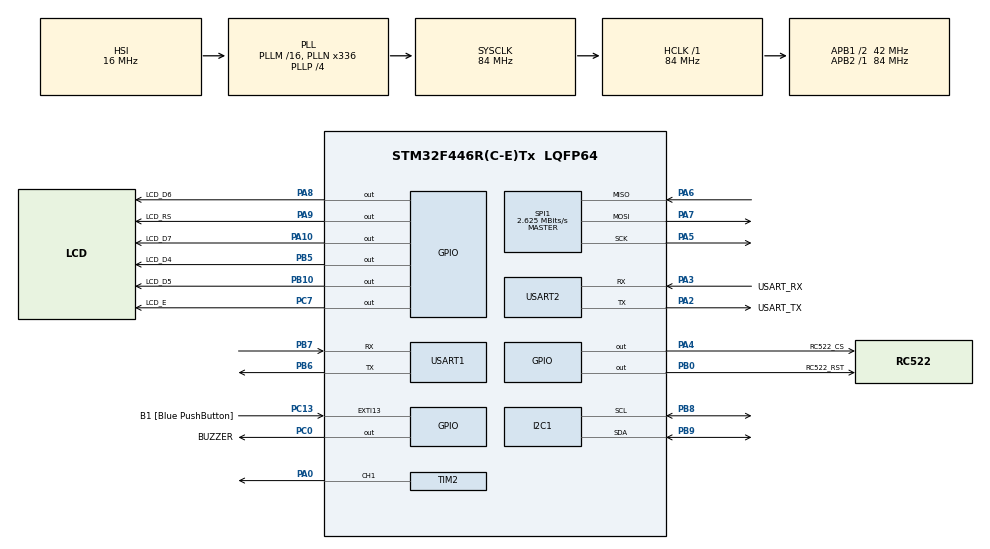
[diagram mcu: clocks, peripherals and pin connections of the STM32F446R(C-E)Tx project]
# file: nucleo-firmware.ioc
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Mcu.Family=STM32F4
Mcu.Name=STM32F446R(C-E)Tx
Mcu.Package=LQFP64
NVIC.PriorityGroup=NVIC_PRIORITYGROUP_0
PA0-WKUP.Signal=S_TIM2_CH1_ETR
PA10.GPIO_Label=LCD_D7
PA10.Signal=GPIO_Output
PA13.GPIO_Label=TMS
PA13.Mode=Serial_Wire
PA13.Signal=SYS_JTMS-SWDIO
PA14.GPIO_Label=TCK
PA14.Mode=Serial_Wire
PA14.Signal=SYS_JTCK-SWCLK
PA2.GPIO_Label=USART_TX
PA2.Mode=Asynchronous
PA2.Signal=USART2_TX
PA3.GPIO_Label=USART_RX
PA3.Mode=Asynchronous
PA3.Signal=USART2_RX
PA4.GPIO_Label=RC522_CS
PA4.PinState=GPIO_PIN_SET
PA4.Signal=GPIO_Output
PA5.Mode=Full_Duplex_Master
PA5.Signal=SPI1_SCK
PA6.Mode=Full_Duplex_Master
PA6.Signal=SPI1_MISO
PA7.Mode=Full_Duplex_Master
PA7.Signal=SPI1_MOSI
PA8.GPIO_Label=LCD_D6
PA8.Signal=GPIO_Output
PA9.GPIO_Label=LCD_RS
PA9.Signal=GPIO_Output
PB0.GPIO_Label=RC522_RST
PB0.PinState=GPIO_PIN_SET
PB0.Signal=GPIO_Output
PB10.GPIO_Label=LCD_D5
PB10.Signal=GPIO_Output
PB3.GPIO_Label=SWO
PB3.Signal=SYS_JTDO-SWO
PB5.GPIO_Label=LCD_D4
PB5.Signal=GPIO_Output
PB6.Mode=Asynchronous
PB6.Signal=USART1_TX
PB7.Mode=Asynchronous
PB7.Signal=USART1_RX
PB8.Mode=I2C
PB8.Signal=I2C1_SCL
PB9.Mode=I2C
PB9.Signal=I2C1_SDA
PC0.GPIO_Label=BUZZER
PC0.Signal=GPIO_Output
PC13.GPIO_Label=B1 [Blue PushButton]
PC13.GPIO_ModeDefaultEXTI=GPIO_MODE_IT_FALLING
PC13.Signal=GPXTI13
PC14-OSC32_IN.Signal=RCC_OSC32_IN
PC15-OSC32_OUT.Signal=RCC_OSC32_OUT
PC7.GPIO_Label=LCD_E
PC7.Signal=GPIO_Output
PH0-OSC_IN.Signal=RCC_OSC_IN
PH1-OSC_OUT.Signal=RCC_OSC_OUT
ProjectManager.HeapSize=0x200
ProjectManager.StackSize=0x400
ProjectManager.TargetToolchain=STM32CubeIDE
RCC.AHBFreq_Value=84000000
RCC.APB1CLKDivider=RCC_HCLK_DIV2
RCC.APB1Freq_Value=42000000
RCC.APB1TimFreq_Value=84000000
RCC.APB2Freq_Value=84000000
RCC.APB2TimFreq_Value=84000000
RCC.CortexFreq_Value=84000000
RCC.FLatency-AdvancedSettings=FLASH_LATENCY_2
RCC.HCLKFreq_Value=84000000
RCC.HSE_VALUE=8000000
RCC.HSI_VALUE=16000000
RCC.LSE_VALUE=32768
RCC.PLLN=336
RCC.PLLP=RCC_PLLP_DIV4
RCC.SYSCLKFreq_VALUE=84000000
RCC.SYSCLKSource=RCC_SYSCLKSOURCE_PLLCLK
RCC.USBFreq_Value=168000000
RCC.VCOOutputFreq_Value=336000000
SH.S_TIM2_CH1_ETR.0=TIM2_CH1,PWM Generation1 CH1
SPI1.BaudRatePrescaler=SPI_BAUDRATEPRESCALER_32
SPI1.CalculateBaudRate=2.625 MBits/s
SPI1.Direction=SPI_DIRECTION_2LINES
SPI1.Mode=SPI_MODE_MASTER
SPI1.VirtualType=VM_MASTER
TIM2.AutoReloadPreload=TIM_AUTORELOAD_PRELOAD_ENABLE
TIM2.Channel-PWM\ Generation1\ CH1=TIM_CHANNEL_1
TIM2.Period=19999
TIM2.Prescaler=83
TIM2.Pulse-PWM\ Generation1\ CH1=1500
USART1.VirtualMode=VM_ASYNC
USART2.VirtualMode=VM_ASYNC
VP_TIM2_VS_ClockSourceINT.Mode=Internal
board=NUCLEO-F446RE

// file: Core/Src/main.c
/* USER CODE BEGIN Header */
/**
  ******************************************************************************
  * @file           : main.c
  * @brief          : Main program body
  ******************************************************************************
  * @attention
  *
  * Copyright (c) 2026 STMicroelectronics.
  * All rights reserved.
  *
  * This software is licensed under terms that can be found in the LICENSE file
  * in the root directory of this software component.
  * If no LICENSE file comes with this software, it is provided AS-IS.
  *
  ******************************************************************************
  */
/* USER CODE END Header */
#include "main.h"

/* USER CODE BEGIN Includes */
#include <stdio.h>
#include <string.h>
/* USER CODE END Includes */

/* USER CODE BEGIN PD */
#define SERVO_MIN_US       650    // safe range: measured stops (540 / 2480) plus ~100 us margin
#define SERVO_MAX_US       2380
#define SERVO_LOCKED_US    700    // placeholder, choose after trying the positions
#define SERVO_UNLOCKED_US  2300   // placeholder, choose after trying the positions
#define UNLOCK_HOLD_MS     5000   // how long the lock stays open after a grant (my starting value)
#define RFID_POLL_MS       100    // how often the card reader is polled (same rate as before)
/* USER CODE END PD */

I2C_HandleTypeDef hi2c1;

SPI_HandleTypeDef hspi1;

TIM_HandleTypeDef htim2;

UART_HandleTypeDef huart1;
UART_HandleTypeDef huart2;

void SystemClock_Config(void);
static void MX_GPIO_Init(void);
static void MX_SPI1_Init(void);
static void MX_USART2_UART_Init(void);
static void MX_TIM2_Init(void);
static void MX_I2C1_Init(void);
static void MX_USART1_UART_Init(void);

/* USER CODE BEGIN 0 */

static void uart_print(const char *s)
{
    HAL_UART_Transmit(&huart2, (uint8_t *)s, strlen(s), 100);
}

static void servo_set(uint16_t us)
{
    if (us < SERVO_MIN_US) us = SERVO_MIN_US;   // never command past the safe range
    if (us > SERVO_MAX_US) us = SERVO_MAX_US;
    __HAL_TIM_SET_COMPARE(&htim2, TIM_CHANNEL_1, us);
}

typedef struct {
    const uint16_t *steps;   // durations in ms, alternating ON, OFF, ON, ...
    uint8_t count;
} buzzer_pattern_t;

static const uint16_t PAT_GRANTED_STEPS[] = { 300 };
static const uint16_t PAT_DENIED_STEPS[]  = { 100, 100, 100, 100, 100 };
static const uint16_t PAT_TEST_STEPS[]    = { 200 };

static const buzzer_pattern_t PAT_GRANTED = { PAT_GRANTED_STEPS, 1 };
static const buzzer_pattern_t PAT_DENIED  = { PAT_DENIED_STEPS,  5 };
static const buzzer_pattern_t PAT_TEST    = { PAT_TEST_STEPS,    1 };

static const buzzer_pattern_t *buz_pat = NULL;   // NULL = idle
static uint8_t  buz_step = 0;
static uint32_t buz_step_start = 0;

static void buzzer_start(const buzzer_pattern_t *p)   // returns immediately
{
    buz_pat = p;
    buz_step = 0;
    buz_step_start = HAL_GetTick();
    HAL_GPIO_WritePin(BUZZER_GPIO_Port, BUZZER_Pin, GPIO_PIN_SET);   // step 0 is always ON
}

static void buzzer_update(void)                        // call every loop pass
{
    if (buz_pat == NULL) return;
    if ((HAL_GetTick() - buz_step_start) < buz_pat->steps[buz_step]) return;

    buz_step++;
    if (buz_step >= buz_pat->count) {                  // pattern finished
        HAL_GPIO_WritePin(BUZZER_GPIO_Port, BUZZER_Pin, GPIO_PIN_RESET);
        buz_pat = NULL;
        return;
    }
    buz_step_start = HAL_GetTick();
    HAL_GPIO_WritePin(BUZZER_GPIO_Port, BUZZER_Pin,
                      (buz_step % 2 == 0) ? GPIO_PIN_SET : GPIO_PIN_RESET);   // even = ON, odd = OFF
}

typedef enum { LOCK_LOCKED, LOCK_UNLOCKED } lock_state_t;
static lock_state_t lock_state = LOCK_LOCKED;
static uint32_t unlock_ms = 0;            // HAL_GetTick() when the lock last opened

static void lock_set(lock_state_t s)      // the only place that moves the servo for access logic
{
    lock_state = s;
    servo_set(s == LOCK_UNLOCKED ? SERVO_UNLOCKED_US : SERVO_LOCKED_US);
    if (s == LOCK_UNLOCKED) unlock_ms = HAL_GetTick();
}

static void i2c_scan(void)
{
    char b[40];
    uint8_t found = 0;
    uart_print("I2C scan...\r\n");
    for (uint8_t addr = 0x08; addr <= 0x77; addr++) {
        // HAL wants the 7-bit address shifted left by 1; 1 try, 10 ms timeout
        if (HAL_I2C_IsDeviceReady(&hi2c1, (uint16_t)(addr << 1), 1, 10) == HAL_OK) {
            snprintf(b, sizeof b, "  device at 0x%02X\r\n", addr);
            uart_print(b);
            found++;
        }
    }
    snprintf(b, sizeof b, "scan done, %u found\r\n", found);
    uart_print(b);
}

static void i2c_diag(void)
{
    char b[96];
    uint8_t scl = (HAL_GPIO_ReadPin(GPIOB, GPIO_PIN_8) == GPIO_PIN_SET);
    uint8_t sda = (HAL_GPIO_ReadPin(GPIOB, GPIO_PIN_9) == GPIO_PIN_SET);
    snprintf(b, sizeof b, "SCL=%u SDA=%u SR1=0x%04lX SR2=0x%04lX\r\n",
             scl, sda,
             (unsigned long)hi2c1.Instance->SR1,
             (unsigned long)hi2c1.Instance->SR2);
    uart_print(b);
}

static void i2c_bus_clear(void)
{
    char b[80];
    GPIO_InitTypeDef g = {0};

    HAL_I2C_DeInit(&hi2c1);                       // peripheral lets go of PB8/PB9

    g.Pin   = GPIO_PIN_8 | GPIO_PIN_9;
    g.Mode  = GPIO_MODE_OUTPUT_OD;                // open-drain: writing 1 = release the line
    g.Pull  = GPIO_NOPULL;                        // module's 4.7k pull-ups do the pulling
    g.Speed = GPIO_SPEED_FREQ_LOW;
    HAL_GPIO_Init(GPIOB, &g);
    HAL_GPIO_WritePin(GPIOB, GPIO_PIN_8 | GPIO_PIN_9, GPIO_PIN_SET);
    HAL_Delay(1);

    uint8_t sda_before = (HAL_GPIO_ReadPin(GPIOB, GPIO_PIN_9) == GPIO_PIN_SET);
    uint8_t pulses = 0;
    while (HAL_GPIO_ReadPin(GPIOB, GPIO_PIN_9) == GPIO_PIN_RESET && pulses < 9) {
        HAL_GPIO_WritePin(GPIOB, GPIO_PIN_8, GPIO_PIN_RESET); HAL_Delay(1);
        HAL_GPIO_WritePin(GPIOB, GPIO_PIN_8, GPIO_PIN_SET);   HAL_Delay(1);
        pulses++;
    }

    // STOP condition: SDA goes low then high while SCL is high
    HAL_GPIO_WritePin(GPIOB, GPIO_PIN_9, GPIO_PIN_RESET); HAL_Delay(1);
    HAL_GPIO_WritePin(GPIOB, GPIO_PIN_8, GPIO_PIN_SET);   HAL_Delay(1);
    HAL_GPIO_WritePin(GPIOB, GPIO_PIN_9, GPIO_PIN_SET);   HAL_Delay(1);

    uint8_t sda_after = (HAL_GPIO_ReadPin(GPIOB, GPIO_PIN_9) == GPIO_PIN_SET);
    snprintf(b, sizeof b, "bus clear: SDA before=%u, pulses=%u, SDA after=%u\r\n",
             sda_before, pulses, sda_after);
    uart_print(b);

    MX_I2C1_Init();                               // hand the pins back to the I2C peripheral
}

static void ds1307_dump(void)
{
    uint8_t r[7];
    char b[96];

    HAL_StatusTypeDef st = HAL_I2C_Mem_Read(&hi2c1, (0x68 << 1), 0x00,
                                            I2C_MEMADD_SIZE_8BIT, r, 7, 100);
    if (st != HAL_OK) {
        snprintf(b, sizeof b, "read failed: status=%d err=0x%02lX state=0x%02X\r\n",
                 (int)st,
                 (unsigned long)HAL_I2C_GetError(&hi2c1),
                 (unsigned)HAL_I2C_GetState(&hi2c1));
        uart_print(b);
        return;
    }

    snprintf(b, sizeof b, "DS1307 raw: %02X %02X %02X %02X %02X %02X %02X\r\n",
             r[0], r[1], r[2], r[3], r[4], r[5], r[6]);
    uart_print(b);
}

static uint8_t bcd_ok(uint8_t v, uint8_t max_bcd)
{
    return ((v & 0x0F) <= 9) && ((v >> 4) <= 9) && (v <= max_bcd);
}

static void ds1307_stats(void)
{
    uint8_t r[7];
    char b[96];
    uint16_t ok = 0, failed = 0, invalid = 0;
    uint8_t first_fail = 0;
    uint32_t last_err = 0;

    for (uint8_t i = 1; i <= 100; i++) {
        HAL_StatusTypeDef st = HAL_I2C_Mem_Read(&hi2c1, (0x68 << 1), 0x00,
                                                I2C_MEMADD_SIZE_8BIT, r, 7, 100);
        if (st != HAL_OK) {
            failed++;
            last_err = HAL_I2C_GetError(&hi2c1);
            if (!first_fail) first_fail = i;
        } else if (!bcd_ok(r[0] & 0x7F, 0x59) ||    // seconds (mask off the CH bit)
                   !bcd_ok(r[1], 0x59) ||           // minutes
                   !bcd_ok(r[2], 0x23)) {           // hours (assumes 24 h mode)
            invalid++;
            if (!first_fail) first_fail = i;
        } else {
            ok++;
        }
        HAL_Delay(100);
    }

    snprintf(b, sizeof b, "stats/100: ok=%u failed=%u invalid=%u first_bad=%u last_err=0x%02lX\r\n",
             ok, failed, invalid, first_fail, (unsigned long)last_err);
    uart_print(b);
    i2c_diag();     // shows SCL/SDA/SR1/SR2 afterwards
}

typedef struct { uint8_t sec, min, hour, date, month, year; } rtc_time_t;   // year = 0..99

static uint8_t to_bcd(uint8_t v)   { return (uint8_t)(((v / 10) << 4) | (v % 10)); }
static uint8_t from_bcd(uint8_t b) { return (uint8_t)((b >> 4) * 10 + (b & 0x0F)); }

// Fills t from the compile-time __DATE__ ("Nov  5 2026") and __TIME__ ("12:34:56"). Returns 1 on success.
static uint8_t parse_build_time(rtc_time_t *t)
{
    static const char mon[] = "JanFebMarAprMayJunJulAugSepOctNovDec";
    const char *d = __DATE__, *tm = __TIME__;
    uint8_t m = 0;
    for (uint8_t i = 0; i < 12; i++)
        if (strncmp(d, mon + 3 * i, 3) == 0) m = (uint8_t)(i + 1);
    if (m == 0) return 0;
    t->month = m;
    t->date  = (uint8_t)((d[4] == ' ' ? 0 : d[4] - '0') * 10 + (d[5] - '0'));
    t->year  = (uint8_t)((d[9] - '0') * 10 + (d[10] - '0'));
    t->hour  = (uint8_t)((tm[0] - '0') * 10 + (tm[1] - '0'));
    t->min   = (uint8_t)((tm[3] - '0') * 10 + (tm[4] - '0'));
    t->sec   = (uint8_t)((tm[6] - '0') * 10 + (tm[7] - '0'));
    return 1;
}

static HAL_StatusTypeDef ds1307_write_time(const rtc_time_t *t)
{
    uint8_t r[7] = { to_bcd(t->sec),      // bit 7 = 0 -> oscillator runs
                     to_bcd(t->min),
                     to_bcd(t->hour),     // bit 6 = 0 -> 24 h mode
                     1,                   // day-of-week: unused, fixed at 1
                     to_bcd(t->date),
                     to_bcd(t->month),
                     to_bcd(t->year) };
    return HAL_I2C_Mem_Write(&hi2c1, (0x68 << 1), 0x00, I2C_MEMADD_SIZE_8BIT, r, 7, 100);
}

// returns 0 = ok, 1 = I2C failure, 2 = invalid values, 3 = clock halted
static uint8_t ds1307_read_time(rtc_time_t *t)
{
    uint8_t r[7];
    if (HAL_I2C_Mem_Read(&hi2c1, (0x68 << 1), 0x00, I2C_MEMADD_SIZE_8BIT, r, 7, 100) != HAL_OK)
        return 1;
    if (r[0] & 0x80) return 3;                       // clock-halt bit set
    if (!bcd_ok(r[0], 0x59) || !bcd_ok(r[1], 0x59) || !bcd_ok(r[2], 0x23) ||   // 12 h bit also fails here
        !bcd_ok(r[4], 0x31) || !bcd_ok(r[5], 0x12) || !bcd_ok(r[6], 0x99))
        return 2;
    t->sec = from_bcd(r[0]);  t->min = from_bcd(r[1]);  t->hour = from_bcd(r[2]);
    t->date = from_bcd(r[4]); t->month = from_bcd(r[5]); t->year = from_bcd(r[6]);
    if (t->date < 1 || t->month < 1) return 2;       // 00 is not a valid date or month
    return 0;
}

static void rtc_print_status(void)
{
    rtc_time_t t;
    char b[64];
    uint8_t rc = ds1307_read_time(&t);
    if (rc == 0)
        snprintf(b, sizeof b, "RTC %04u-%02u-%02u %02u:%02u:%02u\r\n",
                 2000 + t.year, t.month, t.date, t.hour, t.min, t.sec);
    else
        snprintf(b, sizeof b, "RTC read problem: code %u (1=I2C 2=invalid 3=halted)\r\n", rc);
    uart_print(b);
}

static uint32_t rtc_ok_cnt = 0, rtc_fail_cnt = 0;

// Writes either a wall-clock stamp or an uptime stamp into out. Never fails the caller.
static void make_timestamp(char *out, size_t n, uint32_t *took_ms, uint8_t *rc_out)
{
    rtc_time_t t;
    uint32_t t0 = HAL_GetTick();
    uint8_t rc = ds1307_read_time(&t);
    *took_ms = HAL_GetTick() - t0;
    *rc_out = rc;
    if (rc == 0) {
        rtc_ok_cnt++;
        snprintf(out, n, "%04u-%02u-%02u %02u:%02u:%02u",
                 2000 + t.year, t.month, t.date, t.hour, t.min, t.sec);
    } else {
        rtc_fail_cnt++;
        uint32_t up = HAL_GetTick();
        snprintf(out, n, "up %lu.%lus", (unsigned long)(up / 1000), (unsigned long)((up % 1000) / 100));
    }
}

static uint8_t rc522_read_reg(uint8_t reg)
{
    uint8_t tx[2] = { (uint8_t)(0x80 | (reg << 1)), 0x00 };
    uint8_t rx[2] = {0};
    HAL_GPIO_WritePin(RC522_CS_GPIO_Port, RC522_CS_Pin, GPIO_PIN_RESET);
    HAL_SPI_TransmitReceive(&hspi1, tx, rx, 2, 100);
    HAL_GPIO_WritePin(RC522_CS_GPIO_Port, RC522_CS_Pin, GPIO_PIN_SET);
    return rx[1];
}

static void rc522_write_reg(uint8_t reg, uint8_t val)
{
    uint8_t tx[2] = { (uint8_t)((reg << 1) & 0x7E), val };
    HAL_GPIO_WritePin(RC522_CS_GPIO_Port, RC522_CS_Pin, GPIO_PIN_RESET);
    HAL_SPI_Transmit(&hspi1, tx, 2, 100);
    HAL_GPIO_WritePin(RC522_CS_GPIO_Port, RC522_CS_Pin, GPIO_PIN_SET);

}

static void rc522_dump_regs(void)
{
    char buf[48];
    uart_print("--- RC522 register dump ---\r\n");
    for (uint8_t r = 0; r < 0x40; r++) {
        if (r == 0x09) {
            snprintf(buf, sizeof buf, "0x%02X: skipped (FIFOData)\r\n", r);
        } else {
            snprintf(buf, sizeof buf, "0x%02X: 0x%02X\r\n", r, rc522_read_reg(r));
        }
        uart_print(buf);
    }
    uart_print("--- end ---\r\n");
}

// returns 0 = ok, 1 = timeout (no card), 2 = ErrIRq, 3 = unexpected length
static uint8_t rc522_reqa(uint8_t *atqa)
{
    rc522_write_reg(0x01, 0x00);   // Idle
    rc522_write_reg(0x04, 0x7F);   // clear all ComIrq flags
    rc522_write_reg(0x0A, 0x80);   // flush FIFO (assumed bit 7)
    rc522_write_reg(0x0D, 0x07);   // TxLastBits = 7 (7-bit frame)
    rc522_write_reg(0x09, 0x26);   // REQA into FIFO
    rc522_write_reg(0x01, 0x0C);   // Transceive
    rc522_write_reg(0x0D, 0x87);   // StartSend + TxLastBits = 7

    uint32_t t0 = HAL_GetTick();
    uint8_t irq;
    do {
        irq = rc522_read_reg(0x04);
        if (irq & 0x22) break;     // RxIRq (bit 5) or ErrIRq (bit 1)
    } while (HAL_GetTick() - t0 < 30);

    rc522_write_reg(0x0D, 0x00);   // clear StartSend
    rc522_write_reg(0x01, 0x00);   // back to Idle

    if (!(irq & 0x22))  return 1;
    if (irq & 0x02)     return 2;
    if (rc522_read_reg(0x0A) != 2) return 3;
    atqa[0] = rc522_read_reg(0x09);
    atqa[1] = rc522_read_reg(0x09);
    return 0;
}

// returns 0 = ok, 1 = timeout, 2 = ErrIRq, 3 = bad length, 4 = BCC mismatch
static uint8_t rc522_anticoll(uint8_t *uid)
{
    rc522_write_reg(0x01, 0x00);   // Idle
    rc522_write_reg(0x04, 0x7F);   // clear ComIrq flags
    rc522_write_reg(0x0A, 0x80);   // flush FIFO
    rc522_write_reg(0x0D, 0x00);   // TxLastBits = 0 (full bytes)
    rc522_write_reg(0x09, 0x93);   // SEL: cascade level 1
    rc522_write_reg(0x09, 0x20);   // NVB: no UID bits known
    rc522_write_reg(0x01, 0x0C);   // Transceive
    rc522_write_reg(0x0D, 0x80);   // StartSend

    uint32_t t0 = HAL_GetTick();
    uint8_t irq;
    do {
        irq = rc522_read_reg(0x04);
        if (irq & 0x22) break;
    } while (HAL_GetTick() - t0 < 30);

    rc522_write_reg(0x0D, 0x00);
    rc522_write_reg(0x01, 0x00);

    if (!(irq & 0x22))  return 1;
    if (irq & 0x02)     return 2;
    if ((rc522_read_reg(0x0A) & 0x7F) != 5) return 3;
    for (uint8_t i = 0; i < 5; i++) uid[i] = rc522_read_reg(0x09);
    if ((uid[0] ^ uid[1] ^ uid[2] ^ uid[3]) != uid[4]) return 4;
    return 0;
}

static const uint8_t WHITELIST[][4] = {
    {0x01, 0x17, 0x37, 0x02},   // white card
};
#define WHITELIST_COUNT (sizeof(WHITELIST) / sizeof(WHITELIST[0]))

static uint8_t is_authorized(const uint8_t *uid)
{
    for (uint32_t i = 0; i < WHITELIST_COUNT; i++)
        if (memcmp(uid, WHITELIST[i], 4) == 0) return 1;
    return 0;
}

static void lcd_pins_test(void)
{
    GPIO_TypeDef *ports[6] = { LCD_RS_GPIO_Port, LCD_E_GPIO_Port, LCD_D4_GPIO_Port,
                               LCD_D5_GPIO_Port, LCD_D6_GPIO_Port, LCD_D7_GPIO_Port };
    uint16_t pins[6] = { LCD_RS_Pin, LCD_E_Pin, LCD_D4_Pin,
                         LCD_D5_Pin, LCD_D6_Pin, LCD_D7_Pin };
    const char *names[6] = { "RS", "E", "D4", "D5", "D6", "D7" };
    char b[48];

    for (uint8_t i = 0; i < 6; i++) {
        HAL_GPIO_WritePin(ports[i], pins[i], GPIO_PIN_SET);
        HAL_Delay(5);
        uint8_t hi = (HAL_GPIO_ReadPin(ports[i], pins[i]) == GPIO_PIN_SET);
        HAL_GPIO_WritePin(ports[i], pins[i], GPIO_PIN_RESET);
        HAL_Delay(5);
        uint8_t lo = (HAL_GPIO_ReadPin(ports[i], pins[i]) == GPIO_PIN_RESET);
        snprintf(b, sizeof b, "%s: high=%u low=%u\r\n", names[i], hi, lo);
        uart_print(b);
    }
}

static void lcd_write_nibble(uint8_t nib)
{
    HAL_GPIO_WritePin(LCD_D4_GPIO_Port, LCD_D4_Pin, (nib & 0x01) ? GPIO_PIN_SET : GPIO_PIN_RESET);
    HAL_GPIO_WritePin(LCD_D5_GPIO_Port, LCD_D5_Pin, (nib & 0x02) ? GPIO_PIN_SET : GPIO_PIN_RESET);
    HAL_GPIO_WritePin(LCD_D6_GPIO_Port, LCD_D6_Pin, (nib & 0x04) ? GPIO_PIN_SET : GPIO_PIN_RESET);
    HAL_GPIO_WritePin(LCD_D7_GPIO_Port, LCD_D7_Pin, (nib & 0x08) ? GPIO_PIN_SET : GPIO_PIN_RESET);
    HAL_GPIO_WritePin(LCD_E_GPIO_Port, LCD_E_Pin, GPIO_PIN_SET);
    HAL_Delay(1);                       // generous; real minimum is microseconds
    HAL_GPIO_WritePin(LCD_E_GPIO_Port, LCD_E_Pin, GPIO_PIN_RESET);
    HAL_Delay(1);
}

static void lcd_send(uint8_t byte, uint8_t is_data)
{
    HAL_GPIO_WritePin(LCD_RS_GPIO_Port, LCD_RS_Pin, is_data ? GPIO_PIN_SET : GPIO_PIN_RESET);
    lcd_write_nibble(byte >> 4);        // high nibble first
    lcd_write_nibble(byte & 0x0F);      // then low nibble
}

static void lcd_init(void)
{
    HAL_Delay(50);                      // wait after power-up
    HAL_GPIO_WritePin(LCD_RS_GPIO_Port, LCD_RS_Pin, GPIO_PIN_RESET);
    lcd_write_nibble(0x03); HAL_Delay(5);
    lcd_write_nibble(0x03); HAL_Delay(1);
    lcd_write_nibble(0x03); HAL_Delay(1);
    lcd_write_nibble(0x02); HAL_Delay(1);   // switch to 4-bit mode
    lcd_send(0x28, 0);                  // function set: 4-bit, 2 lines, 5x8 font
    lcd_send(0x0C, 0);                  // display on, cursor off
    lcd_send(0x01, 0); HAL_Delay(2);    // clear display (slow command)
    lcd_send(0x06, 0);                  // entry mode: cursor moves right
}

static void lcd_print(const char *s)
{
    while (*s) lcd_send((uint8_t)*s++, 1);
}

static void lcd_set_cursor(uint8_t row, uint8_t col)
{
    uint8_t addr = (row == 0 ? 0x00 : 0x40) + col;   // line 2 starts at 0x40 (standard HD44780 layout, from memory)
    lcd_send(0x80 | addr, 0);                         // "set DDRAM address" command
}

static void lcd_clear(void)
{
    lcd_send(0x01, 0);
    HAL_Delay(2);                                      // clear is a slow command
}

#define RESULT_HOLD_MS 2000   // keep result on screen this long after the card leaves

typedef enum { STATE_IDLE, STATE_SHOWING } ui_state_t;

static void lcd_show_idle(void)
{
    lcd_clear();
    lcd_set_cursor(0, 0);
    lcd_print("ACCESS SYSTEM");
    lcd_set_cursor(1, 0);
    lcd_print("READY");
}

/* USER CODE END 0 */

int main(void)
{

  /* MCU Configuration--------------------------------------------------------*/

  /* Reset of all peripherals, Initializes the Flash interface and the Systick. */
  HAL_Init();

  /* Configure the system clock */
  SystemClock_Config();

  /* Initialize all configured peripherals */
  MX_GPIO_Init();
  MX_SPI1_Init();
  MX_USART2_UART_Init();
  MX_TIM2_Init();
  MX_I2C1_Init();
  MX_USART1_UART_Init();
  /* USER CODE BEGIN 2 */

  HAL_GPIO_WritePin(RC522_RST_GPIO_Port, RC522_RST_Pin, GPIO_PIN_RESET);
  HAL_Delay(10);
  HAL_GPIO_WritePin(RC522_RST_GPIO_Port, RC522_RST_Pin, GPIO_PIN_SET);
  HAL_Delay(50);

  /*
  rc522_dump_regs();

  {
      char b[64];
      rc522_write_reg(0x01, 0x0F);   // CommandReg = SoftReset
      HAL_Delay(50);                 // wait for the chip to restart (my guess at a safe time)
      snprintf(b, sizeof b, "After soft reset: Cmd=0x%02X Mode=0x%02X TxCtl=0x%02X\r\n",
               rc522_read_reg(0x01), rc522_read_reg(0x11), rc522_read_reg(0x14));
      uart_print(b);
  }
  */

  //lcd_pins_test()

  lcd_init();
  lcd_clear();
  lcd_set_cursor(0, 0);
  lcd_print("ACCESS SYSTEM");
  lcd_set_cursor(1, 0);
  lcd_print("STARTING...");
  uart_print("\r\n=== Access System boot ===\r\n");
  uart_print("Build: " __DATE__ " " __TIME__ "\r\n");

  uint8_t reader_ok = 1;
  {
      rc522_write_reg(0x14, rc522_read_reg(0x14) | 0x03);   // antenna on (do not remove)
      uint8_t txctl = rc522_read_reg(0x14);
      if ((txctl & 0x03) != 0x03) {                          // only speak up if the antenna did not turn on
          reader_ok = 0;
          char b[64];
          snprintf(b, sizeof b, "READER FAULT: TxControl = 0x%02X (antenna not on)\r\n", txctl);
          uart_print(b);
      }
  }

  ui_state_t ui_state = STATE_IDLE;
  uint32_t last_seen_ms = 0;
  uint8_t last_uid[4] = {0};
  uint32_t last_poll_ms = 0;

  /* --- LOCK START --- */
  lock_set(LOCK_LOCKED);                       // set the compare value first, so the first pulse is LOCKED
  HAL_TIM_PWM_Start(&htim2, TIM_CHANNEL_1);
  uart_print("Lock ready: LOCKED\r\n");
  /* --- END LOCK START --- */

  buzzer_start(&PAT_TEST);                     // short boot beep (200 ms)
  HAL_Delay(1500);                             // keep the title readable (boot only, so blocking is fine)
  buzzer_update();                             // beep is long over, so this switches the buzzer off
  if (reader_ok) {
      lcd_show_idle();
      uart_print("Ready\r\n");
  } else {
      lcd_clear();
      lcd_set_cursor(0, 0);
      lcd_print("READER FAULT");
      lcd_set_cursor(1, 0);
      lcd_print("CHECK RC522");
  }

  /* USER CODE END 2 */

  /* Infinite loop */
  while (1)
  {

    /* USER CODE BEGIN 3 */
	  char buf[80];
	  uint8_t atqa[2], uid[5];

	  /* --- DEBUG KEYS (temporary) --- */
	  uint8_t key;
	  if (HAL_UART_Receive(&huart2, &key, 1, 0) == HAL_OK) {   // timeout 0 = don't wait
	      if (key == 'l') { lock_set(LOCK_LOCKED);   uart_print("LOCKED (manual)\r\n"); }
	      if (key == 'u') { lock_set(LOCK_UNLOCKED); uart_print("UNLOCKED (manual)\r\n"); }
	      if (key == 's') i2c_scan();
	      if (key == 'd') ds1307_dump();
	      if (key == 'b') i2c_diag();
	      if (key == 'c') i2c_bus_clear();
	      if (key == 't') ds1307_stats();
	      if (key == 'z') buzzer_start(&PAT_TEST);
	      if (key == 'g') buzzer_start(&PAT_GRANTED);
	      if (key == 'n') buzzer_start(&PAT_DENIED);
	      if (key == 'w') {
	          rtc_time_t t;
	          if (parse_build_time(&t) && ds1307_write_time(&t) == HAL_OK) uart_print("RTC set from build time\r\n");
	          else uart_print("RTC set FAILED\r\n");
	          rtc_print_status();                     // read back to verify
	      }
	      if (key == 'r') rtc_print_status();
	      if (key == 'k') {
	          snprintf(buf, sizeof buf, "RTC reads: ok=%lu fail=%lu\r\n",
	                   (unsigned long)rtc_ok_cnt, (unsigned long)rtc_fail_cnt);
	          uart_print(buf);
	      }
	  }
	  /* --- END DEBUG KEYS --- */

	  if ((HAL_GetTick() - last_poll_ms) >= RFID_POLL_MS) {
	      last_poll_ms = HAL_GetTick();

	      if (rc522_reqa(atqa) == 0 && rc522_anticoll(uid) == 0) {
	          last_seen_ms = HAL_GetTick();
	          uint8_t changed = (ui_state == STATE_IDLE) || (memcmp(uid, last_uid, 4) != 0);
	          if (changed) {
	              memcpy(last_uid, uid, 4);
	              ui_state = STATE_SHOWING;
	              uint8_t granted = is_authorized(uid);

	              if (granted) lock_set(LOCK_UNLOCKED);          // decision actions first
	              lcd_clear();
	              lcd_set_cursor(0, 0);
	              lcd_print(granted ? "GRANTED" : "DENIED");
	              lcd_set_cursor(1, 0);
	              snprintf(buf, sizeof buf, "%02X%02X%02X%02X", uid[0], uid[1], uid[2], uid[3]);
	              lcd_print(buf);
	              buzzer_start(granted ? &PAT_GRANTED : &PAT_DENIED);

	              // RTC last: a failure here must never affect the decision (AC-18)
	              char stamp[32], logline[112];
	              uint32_t took; uint8_t rc;
	              make_timestamp(stamp, sizeof stamp, &took, &rc);
	              snprintf(logline, sizeof logline,
	                       "[%s] UID = %02X %02X %02X %02X -> %s  (rtc rc=%u, %lu ms)\r\n",
	                       stamp, uid[0], uid[1], uid[2], uid[3],
	                       granted ? "GRANTED" : "DENIED", rc, (unsigned long)took);
	              uart_print(logline);
	          }
	      } else if (ui_state == STATE_SHOWING &&
	                 (HAL_GetTick() - last_seen_ms) > RESULT_HOLD_MS) {
	          ui_state = STATE_IDLE;
	          lcd_show_idle();
	      }
	  }

	  buzzer_update();

	  if (lock_state == LOCK_UNLOCKED && (HAL_GetTick() - unlock_ms) >= UNLOCK_HOLD_MS) {
	      lock_set(LOCK_LOCKED);
	      uart_print("LOCKED (timeout)\r\n");
	  }
	  /* no HAL_Delay: each task now has its own timer */
  }
  /* USER CODE END 3 */
}

void SystemClock_Config(void)
{
  RCC_OscInitTypeDef RCC_OscInitStruct = {0};
  RCC_ClkInitTypeDef RCC_ClkInitStruct = {0};

  /** Configure the main internal regulator output voltage
  */
  __HAL_RCC_PWR_CLK_ENABLE();
  __HAL_PWR_VOLTAGESCALING_CONFIG(PWR_REGULATOR_VOLTAGE_SCALE3);

  /** Initializes the RCC Oscillators according to the specified parameters
  * in the RCC_OscInitTypeDef structure.
  */
  RCC_OscInitStruct.OscillatorType = RCC_OSCILLATORTYPE_HSI;
  RCC_OscInitStruct.HSIState = RCC_HSI_ON;
  RCC_OscInitStruct.HSICalibrationValue = RCC_HSICALIBRATION_DEFAULT;
  RCC_OscInitStruct.PLL.PLLState = RCC_PLL_ON;
  RCC_OscInitStruct.PLL.PLLSource = RCC_PLLSOURCE_HSI;
  RCC_OscInitStruct.PLL.PLLM = 16;
  RCC_OscInitStruct.PLL.PLLN = 336;
  RCC_OscInitStruct.PLL.PLLP = RCC_PLLP_DIV4;
  RCC_OscInitStruct.PLL.PLLQ = 2;
  RCC_OscInitStruct.PLL.PLLR = 2;
  if (HAL_RCC_OscConfig(&RCC_OscInitStruct) != HAL_OK)
  {
    Error_Handler();
  }

  /** Initializes the CPU, AHB and APB buses clocks
  */
  RCC_ClkInitStruct.ClockType = RCC_CLOCKTYPE_HCLK|RCC_CLOCKTYPE_SYSCLK
                              |RCC_CLOCKTYPE_PCLK1|RCC_CLOCKTYPE_PCLK2;
  RCC_ClkInitStruct.SYSCLKSource = RCC_SYSCLKSOURCE_PLLCLK;
  RCC_ClkInitStruct.AHBCLKDivider = RCC_SYSCLK_DIV1;
  RCC_ClkInitStruct.APB1CLKDivider = RCC_HCLK_DIV2;
  RCC_ClkInitStruct.APB2CLKDivider = RCC_HCLK_DIV1;

  if (HAL_RCC_ClockConfig(&RCC_ClkInitStruct, FLASH_LATENCY_2) != HAL_OK)
  {
    Error_Handler();
  }
}

static void MX_I2C1_Init(void)
{

  hi2c1.Instance = I2C1;
  hi2c1.Init.ClockSpeed = 100000;
  hi2c1.Init.DutyCycle = I2C_DUTYCYCLE_2;
  hi2c1.Init.OwnAddress1 = 0;
  hi2c1.Init.AddressingMode = I2C_ADDRESSINGMODE_7BIT;
  hi2c1.Init.DualAddressMode = I2C_DUALADDRESS_DISABLE;
  hi2c1.Init.OwnAddress2 = 0;
  hi2c1.Init.GeneralCallMode = I2C_GENERALCALL_DISABLE;
  hi2c1.Init.NoStretchMode = I2C_NOSTRETCH_DISABLE;
  if (HAL_I2C_Init(&hi2c1) != HAL_OK)
  {
    Error_Handler();
  }

}

static void MX_SPI1_Init(void)
{

  /* SPI1 parameter configuration*/
  hspi1.Instance = SPI1;
  hspi1.Init.Mode = SPI_MODE_MASTER;
  hspi1.Init.Direction = SPI_DIRECTION_2LINES;
  hspi1.Init.DataSize = SPI_DATASIZE_8BIT;
  hspi1.Init.CLKPolarity = SPI_POLARITY_LOW;
  hspi1.Init.CLKPhase = SPI_PHASE_1EDGE;
  hspi1.Init.NSS = SPI_NSS_SOFT;
  hspi1.Init.BaudRatePrescaler = SPI_BAUDRATEPRESCALER_32;
  hspi1.Init.FirstBit = SPI_FIRSTBIT_MSB;
  hspi1.Init.TIMode = SPI_TIMODE_DISABLE;
  hspi1.Init.CRCCalculation = SPI_CRCCALCULATION_DISABLE;
  hspi1.Init.CRCPolynomial = 10;
  if (HAL_SPI_Init(&hspi1) != HAL_OK)
  {
    Error_Handler();
  }

}

static void MX_TIM2_Init(void)
{

  TIM_ClockConfigTypeDef sClockSourceConfig = {0};
  TIM_MasterConfigTypeDef sMasterConfig = {0};
  TIM_OC_InitTypeDef sConfigOC = {0};

  htim2.Instance = TIM2;
  htim2.Init.Prescaler = 83;
  htim2.Init.CounterMode = TIM_COUNTERMODE_UP;
  htim2.Init.Period = 19999;
  htim2.Init.ClockDivision = TIM_CLOCKDIVISION_DIV1;
  htim2.Init.AutoReloadPreload = TIM_AUTORELOAD_PRELOAD_ENABLE;
  if (HAL_TIM_Base_Init(&htim2) != HAL_OK)
  {
    Error_Handler();
  }
  sClockSourceConfig.ClockSource = TIM_CLOCKSOURCE_INTERNAL;
  if (HAL_TIM_ConfigClockSource(&htim2, &sClockSourceConfig) != HAL_OK)
  {
    Error_Handler();
  }
  if (HAL_TIM_PWM_Init(&htim2) != HAL_OK)
  {
    Error_Handler();
  }
  sMasterConfig.MasterOutputTrigger = TIM_TRGO_RESET;
  sMasterConfig.MasterSlaveMode = TIM_MASTERSLAVEMODE_DISABLE;
  if (HAL_TIMEx_MasterConfigSynchronization(&htim2, &sMasterConfig) != HAL_OK)
  {
    Error_Handler();
  }
  sConfigOC.OCMode = TIM_OCMODE_PWM1;
  sConfigOC.Pulse = 1500;
  sConfigOC.OCPolarity = TIM_OCPOLARITY_HIGH;
  sConfigOC.OCFastMode = TIM_OCFAST_DISABLE;
  if (HAL_TIM_PWM_ConfigChannel(&htim2, &sConfigOC, TIM_CHANNEL_1) != HAL_OK)
  {
    Error_Handler();
  }
  HAL_TIM_MspPostInit(&htim2);

}

static void MX_USART1_UART_Init(void)
{

  huart1.Instance = USART1;
  huart1.Init.BaudRate = 115200;
  huart1.Init.WordLength = UART_WORDLENGTH_8B;
  huart1.Init.StopBits = UART_STOPBITS_1;
  huart1.Init.Parity = UART_PARITY_NONE;
  huart1.Init.Mode = UART_MODE_TX_RX;
  huart1.Init.HwFlowCtl = UART_HWCONTROL_NONE;
  huart1.Init.OverSampling = UART_OVERSAMPLING_16;
  if (HAL_UART_Init(&huart1) != HAL_OK)
  {
    Error_Handler();
  }

}

static void MX_USART2_UART_Init(void)
{

  huart2.Instance = USART2;
  huart2.Init.BaudRate = 115200;
  huart2.Init.WordLength = UART_WORDLENGTH_8B;
  huart2.Init.StopBits = UART_STOPBITS_1;
  huart2.Init.Parity = UART_PARITY_NONE;
  huart2.Init.Mode = UART_MODE_TX_RX;
  huart2.Init.HwFlowCtl = UART_HWCONTROL_NONE;
  huart2.Init.OverSampling = UART_OVERSAMPLING_16;
  if (HAL_UART_Init(&huart2) != HAL_OK)
  {
    Error_Handler();
  }

}

static void MX_GPIO_Init(void)
{
  GPIO_InitTypeDef GPIO_InitStruct = {0};

  /* GPIO Ports Clock Enable */
  __HAL_RCC_GPIOC_CLK_ENABLE();
  __HAL_RCC_GPIOH_CLK_ENABLE();
  __HAL_RCC_GPIOA_CLK_ENABLE();
  __HAL_RCC_GPIOB_CLK_ENABLE();

  /*Configure GPIO pin Output Level */
  HAL_GPIO_WritePin(GPIOC, BUZZER_Pin|LCD_E_Pin, GPIO_PIN_RESET);

  /*Configure GPIO pin Output Level */
  HAL_GPIO_WritePin(RC522_CS_GPIO_Port, RC522_CS_Pin, GPIO_PIN_SET);

  /*Configure GPIO pin Output Level */
  HAL_GPIO_WritePin(RC522_RST_GPIO_Port, RC522_RST_Pin, GPIO_PIN_SET);

  /*Configure GPIO pin Output Level */
  HAL_GPIO_WritePin(GPIOB, LCD_D5_Pin|LCD_D4_Pin, GPIO_PIN_RESET);

  /*Configure GPIO pin Output Level */
  HAL_GPIO_WritePin(GPIOA, LCD_D6_Pin|LCD_RS_Pin|LCD_D7_Pin, GPIO_PIN_RESET);

  /*Configure GPIO pin : B1_Pin */
  GPIO_InitStruct.Pin = B1_Pin;
  GPIO_InitStruct.Mode = GPIO_MODE_IT_FALLING;
  GPIO_InitStruct.Pull = GPIO_NOPULL;
  HAL_GPIO_Init(B1_GPIO_Port, &GPIO_InitStruct);

  /*Configure GPIO pins : BUZZER_Pin LCD_E_Pin */
  GPIO_InitStruct.Pin = BUZZER_Pin|LCD_E_Pin;
  GPIO_InitStruct.Mode = GPIO_MODE_OUTPUT_PP;
  GPIO_InitStruct.Pull = GPIO_NOPULL;
  GPIO_InitStruct.Speed = GPIO_SPEED_FREQ_LOW;
  HAL_GPIO_Init(GPIOC, &GPIO_InitStruct);

  /*Configure GPIO pins : RC522_CS_Pin LCD_D6_Pin LCD_RS_Pin LCD_D7_Pin */
  GPIO_InitStruct.Pin = RC522_CS_Pin|LCD_D6_Pin|LCD_RS_Pin|LCD_D7_Pin;
  GPIO_InitStruct.Mode = GPIO_MODE_OUTPUT_PP;
  GPIO_InitStruct.Pull = GPIO_NOPULL;
  GPIO_InitStruct.Speed = GPIO_SPEED_FREQ_LOW;
  HAL_GPIO_Init(GPIOA, &GPIO_InitStruct);

  /*Configure GPIO pins : RC522_RST_Pin LCD_D5_Pin LCD_D4_Pin */
  GPIO_InitStruct.Pin = RC522_RST_Pin|LCD_D5_Pin|LCD_D4_Pin;
  GPIO_InitStruct.Mode = GPIO_MODE_OUTPUT_PP;
  GPIO_InitStruct.Pull = GPIO_NOPULL;
  GPIO_InitStruct.Speed = GPIO_SPEED_FREQ_LOW;
  HAL_GPIO_Init(GPIOB, &GPIO_InitStruct);

}

void Error_Handler(void)
{
  __disable_irq();
  while (1)
  {
  }
}
